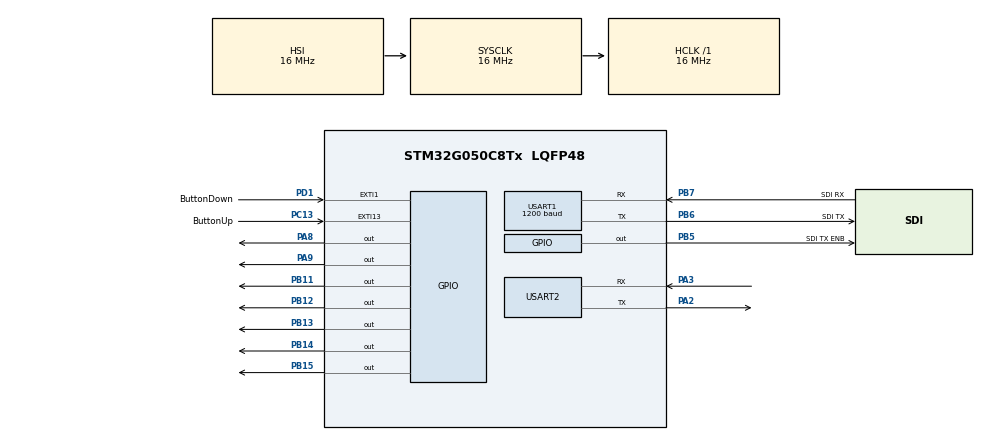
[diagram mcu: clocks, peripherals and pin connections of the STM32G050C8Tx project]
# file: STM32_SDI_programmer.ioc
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Mcu.Family=STM32G0
Mcu.Name=STM32G050C8Tx
Mcu.Package=LQFP48
NVIC.EXTI0_1_IRQn=true\:0\:0\:false\:false\:true\:true\:true\:true
NVIC.EXTI4_15_IRQn=true\:0\:0\:false\:false\:true\:true\:true\:true
NVIC.USART1_IRQn=true\:3\:0\:true\:false\:true\:true\:true\:true
PA2.Mode=Asynchronous
PA2.Signal=USART2_TX
PA3.Mode=Asynchronous
PA3.Signal=USART2_RX
PA8.Signal=GPIO_Output
PA9.Signal=GPIO_Output
PB11.Signal=GPIO_Output
PB12.Signal=GPIO_Output
PB13.Signal=GPIO_Output
PB14.Signal=GPIO_Output
PB15.Signal=GPIO_Output
PB5.GPIO_Label=SDI TX ENB
PB5.GPIO_Speed=GPIO_SPEED_FREQ_VERY_HIGH
PB5.Signal=GPIO_Output
PB6.GPIO_Label=SDI TX
PB6.GPIO_Speed=GPIO_SPEED_FREQ_VERY_HIGH
PB6.Mode=Asynchronous
PB6.Signal=USART1_TX
PB7.GPIO_Label=SDI RX
PB7.GPIO_Speed=GPIO_SPEED_FREQ_VERY_HIGH
PB7.Mode=Asynchronous
PB7.Signal=USART1_RX
PC13.GPIO_Label=ButtonUp
PC13.Signal=GPXTI13
PD1.GPIO_Label=ButtonDown
PD1.Signal=GPXTI1
ProjectManager.HeapSize=0x200
ProjectManager.StackSize=0x400
ProjectManager.TargetToolchain=STM32CubeIDE
RCC.AHBFreq_Value=16000000
RCC.APB1CLKDivider=RCC_HCLK_DIV2
RCC.CortexFreq_Value=16000000
RCC.EXTERNAL_CLOCK_VALUE=48000
RCC.HCLKFreq_Value=16000000
RCC.HSE_VALUE=8000000
RCC.HSI_VALUE=16000000
RCC.LSE_VALUE=32768
RCC.SYSCLKFreq_VALUE=16000000
RCC.VCOOutputFreq_Value=128000000
USART1.BaudRate=1200
USART1.VirtualMode-Asynchronous=VM_ASYNC
USART2.VirtualMode-Asynchronous=VM_ASYNC
VP_SYS_VS_DBSignals.Mode=DisableDeadBatterySignals
board=custom

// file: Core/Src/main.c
/* USER CODE BEGIN Header */

/**
 ******************************************************************************
 * @file           : main.c
 * @brief          : Main program body
 ******************************************************************************
 * @attention
 *
 * Copyright (c) 2023 STMicroelectronics.
 * All rights reserved.
 *
 * This software is licensed under terms that can be found in the LICENSE file
 * in the root directory of this software component.
 * If no LICENSE file comes with this software, it is provided AS-IS.
 *
 ******************************************************************************
 */
/* USER CODE END Header */
#include "main.h"

/* USER CODE BEGIN Includes */
#include "sdi_logging.h"
#include "led_driver.h"
#include "sdi12Bus_communication.h"

#include <stdlib.h>

/* USER CODE END Includes */

/* USER CODE BEGIN PD */
#define STD_WAIT_SENRESP_MS     (150) /**< @brief SDI12 wait time for response as per standard*/
#define SDI_STANDARD_WAIT_MS    (750) /**< @brief SDI12 standard wait time for Address change and Identification command response as per standard*/
#define MAX_INIT_TIME           (6)   /**< @brief Max time in ms from uart init to address read command*/
#define IDLE_TIME_SEC           (10)  /**< @brief Max time in seconds that the programmer will remain idle before suspending*/
#define CYCLE_DELAY             (50)  /**< @brief Main program loop cycle delay*/
#define MAX_SDI_ADDRESS         (3)   /**< @brief Max address an SDI sensor can have*/

/* USER CODE END PD */

UART_HandleTypeDef huart1;
UART_HandleTypeDef huart2;

/* USER CODE BEGIN PV */
char         addressArr[]        = {'0', '1', '2', '3'};
int          buttonInterruptFlag = -1;
int          addressReadFlag     = UNREAD;
Sdi12Handle *interruptSdiHandle  = {0};

/* USER CODE END PV */

void SystemClock_Config(void);
static void MX_GPIO_Init(void);
static void MX_USART2_UART_Init(void);
static void MX_USART1_UART_Init(void);

int main(void)
{
    /* USER CODE BEGIN 1 */
    char         log[250]        = {0};
    char         address_buf     = {0};
    char         rxbuf[250]      = {0};
    int          rxSize          = 250;
    SDI12RetCode retStat         = 0;
    int          idleCycles      = 0;
    char         addressNotFound = '8';

    /* USER CODE END 1 */

    /* MCU Configuration--------------------------------------------------------*/

    /* Reset of all peripherals, Initializes the Flash interface and the Systick. */
    HAL_Init();

    /* Configure the system clock */
    SystemClock_Config();

    /* Initialize all configured peripherals */
    MX_GPIO_Init();
    MX_USART2_UART_Init();
    MX_USART1_UART_Init();
    /* USER CODE BEGIN 2 */
    // Init SDI handles
    Sdi12PortPinMap sdiTxEnb =
    {
        .pGpioPort = SDI_TX_ENB_GPIO_Port,
        .gpioPin   = SDI_TX_ENB_Pin
    };

    Sdi12PortPinMap sdiTx =
    {
        .pGpioPort = SDI_TX_GPIO_Port,
        .gpioPin   = SDI_TX_Pin
    };

    Sdi12PinConfig pinConfig =
    {
        .sdiTx    = sdiTx,
        .sdiTxEnb = sdiTxEnb
    };

    Sdi12Handle sensorHandle =
    {
        .Sdi12PinCfg       = pinConfig,
        .hUART             = &huart1,
        .sdi12IdNewOrQuery = address_buf
    };

    Sdi12Receive Sdi12Resp =
    {
        .recBuf  = rxbuf,
        .recSize = rxSize
    };

    interruptSdiHandle = &sensorHandle;

    printLog("          ---");
    printLog("SDI programmer initialized");
    printLog("          ---");

    /* USER CODE END 2 */

    /* Infinite loop */
    /* USER CODE BEGIN WHILE */
    while (1)
    {
        if (idleCycles >= IDLE_TIME_SEC * 20)
        {
            //Suspend programmer if left idle
            printLog("Entering STOP mode");
            HAL_SuspendTick();
            HAL_PWR_EnterSTOPMode(PWR_LOWPOWERREGULATOR_ON, PWR_STOPENTRY_WFI);
            SystemClock_Config();
            HAL_ResumeTick();
            idleCycles = 0;
        }

        if (addressReadFlag == UNREAD)
        {
            // Request SDI-12 sensor address
            retStat = sdi12_BusCommunication(&sensorHandle, Sdi12Resp.recBuf,
                                             &Sdi12Resp.recSize, STD_WAIT_SENRESP_MS,
                                             SDI12_QUERY_ADDR);
            sensorHandle.sdi12IdNewOrQuery = Sdi12Resp.recBuf[0];

            if (retStat != SDI12RetCode_OK)
            {
                printLog("Error: Failed to read sensor address");
                setDigit(addressNotFound);
                HAL_Delay(STD_WAIT_SENRESP_MS); //Give SDI a break before querying again
            }
            else
            {
                sprintf(log, "Current sensor address: %c", sensorHandle.sdi12IdNewOrQuery);
                printLog(log);
                setDigit(sensorHandle.sdi12IdNewOrQuery);
                addressReadFlag = READ;
            }

            //This call takes 400ms
            idleCycles += 8;
        }

        if (buttonInterruptFlag == -1)
        {
            HAL_Delay(CYCLE_DELAY);
            idleCycles++;
        }
        else
        {
            // Request SDI-12 sensor address change
            sensorHandle.sdi12Address      = sensorHandle.sdi12IdNewOrQuery;
            sensorHandle.sdi12IdNewOrQuery = addressArr[buttonInterruptFlag];
            retStat = sdi12_BusCommunication(&sensorHandle, Sdi12Resp.recBuf,
                                             &Sdi12Resp.recSize, SDI_STANDARD_WAIT_MS,
                                             SDI12_CHANGE_ADDR);
            sensorHandle.sdi12IdNewOrQuery = Sdi12Resp.recBuf[0];

            if (retStat != SDI12RetCode_OK)
            {
                printLog("Error: Failed to change sensor address");
            }
            else
            {
                setDigit(sensorHandle.sdi12IdNewOrQuery);
                sprintf(log, "New sensor address: %c", sensorHandle.sdi12IdNewOrQuery);
                printLog(log);
            }

            buttonInterruptFlag = -1;
            idleCycles          = 0;
        }
        /* USER CODE END WHILE */

    }
}

void SystemClock_Config(void)
{
    RCC_OscInitTypeDef RCC_OscInitStruct = {0};
    RCC_ClkInitTypeDef RCC_ClkInitStruct = {0};

    /** Configure the main internal regulator output voltage
     */
    HAL_PWREx_ControlVoltageScaling(PWR_REGULATOR_VOLTAGE_SCALE1);

    /** Initializes the RCC Oscillators according to the specified parameters
     * in the RCC_OscInitTypeDef structure.
     */
    RCC_OscInitStruct.OscillatorType      = RCC_OSCILLATORTYPE_HSI;
    RCC_OscInitStruct.HSIState            = RCC_HSI_ON;
    RCC_OscInitStruct.HSIDiv              = RCC_HSI_DIV1;
    RCC_OscInitStruct.HSICalibrationValue = RCC_HSICALIBRATION_DEFAULT;
    RCC_OscInitStruct.PLL.PLLState        = RCC_PLL_NONE;
    if (HAL_RCC_OscConfig(&RCC_OscInitStruct) != HAL_OK)
    {
        Error_Handler();
    }

    /** Initializes the CPU, AHB and APB buses clocks
     */
    RCC_ClkInitStruct.ClockType = RCC_CLOCKTYPE_HCLK | RCC_CLOCKTYPE_SYSCLK |
                                  RCC_CLOCKTYPE_PCLK1;
    RCC_ClkInitStruct.SYSCLKSource   = RCC_SYSCLKSOURCE_HSI;
    RCC_ClkInitStruct.AHBCLKDivider  = RCC_SYSCLK_DIV1;
    RCC_ClkInitStruct.APB1CLKDivider = RCC_HCLK_DIV2;

    if (HAL_RCC_ClockConfig(&RCC_ClkInitStruct, FLASH_LATENCY_0) != HAL_OK)
    {
        Error_Handler();
    }
}

static void MX_USART1_UART_Init(void)
{

    huart1.Instance                    = USART1;
    huart1.Init.BaudRate               = 1200;
    huart1.Init.WordLength             = UART_WORDLENGTH_8B;
    huart1.Init.StopBits               = UART_STOPBITS_1;
    huart1.Init.Parity                 = UART_PARITY_NONE;
    huart1.Init.Mode                   = UART_MODE_TX_RX;
    huart1.Init.HwFlowCtl              = UART_HWCONTROL_NONE;
    huart1.Init.OverSampling           = UART_OVERSAMPLING_16;
    huart1.Init.OneBitSampling         = UART_ONE_BIT_SAMPLE_DISABLE;
    huart1.Init.ClockPrescaler         = UART_PRESCALER_DIV1;
    huart1.AdvancedInit.AdvFeatureInit = UART_ADVFEATURE_NO_INIT;
    if (HAL_UART_Init(&huart1) != HAL_OK)
    {
        Error_Handler();
    }
    if (HAL_UARTEx_SetTxFifoThreshold(&huart1, UART_TXFIFO_THRESHOLD_1_8) != HAL_OK)
    {
        Error_Handler();
    }
    if (HAL_UARTEx_SetRxFifoThreshold(&huart1, UART_RXFIFO_THRESHOLD_1_8) != HAL_OK)
    {
        Error_Handler();
    }
    if (HAL_UARTEx_DisableFifoMode(&huart1) != HAL_OK)
    {
        Error_Handler();
    }
    /* USER CODE BEGIN USART1_Init 2 */
    __HAL_UART_ENABLE_IT(&huart1, UART_IT_RXNE);
    /* USER CODE END USART1_Init 2 */
}

static void MX_USART2_UART_Init(void)
{

    huart2.Instance                    = USART2;
    huart2.Init.BaudRate               = 115200;
    huart2.Init.WordLength             = UART_WORDLENGTH_8B;
    huart2.Init.StopBits               = UART_STOPBITS_1;
    huart2.Init.Parity                 = UART_PARITY_NONE;
    huart2.Init.Mode                   = UART_MODE_TX_RX;
    huart2.Init.HwFlowCtl              = UART_HWCONTROL_NONE;
    huart2.Init.OverSampling           = UART_OVERSAMPLING_16;
    huart2.Init.OneBitSampling         = UART_ONE_BIT_SAMPLE_DISABLE;
    huart2.Init.ClockPrescaler         = UART_PRESCALER_DIV1;
    huart2.AdvancedInit.AdvFeatureInit = UART_ADVFEATURE_NO_INIT;
    if (HAL_UART_Init(&huart2) != HAL_OK)
    {
        Error_Handler();
    }
}

static void MX_GPIO_Init(void)
{
    GPIO_InitTypeDef GPIO_InitStruct = {0};

    /* GPIO Ports Clock Enable */
    __HAL_RCC_GPIOC_CLK_ENABLE();
    __HAL_RCC_GPIOA_CLK_ENABLE();
    __HAL_RCC_GPIOB_CLK_ENABLE();
    __HAL_RCC_GPIOD_CLK_ENABLE();

    /*Configure GPIO pin Output Level */
    HAL_GPIO_WritePin(GPIOB,
                      GPIO_PIN_11 | GPIO_PIN_12 | GPIO_PIN_13 | GPIO_PIN_14 | GPIO_PIN_15 | SDI_TX_ENB_Pin,
                      GPIO_PIN_RESET);

    /*Configure GPIO pin Output Level */
    HAL_GPIO_WritePin(GPIOA, GPIO_PIN_8 | GPIO_PIN_9, GPIO_PIN_RESET);

    /*Configure GPIO pin : ButtonUp_Pin */
    GPIO_InitStruct.Pin  = ButtonUp_Pin;
    GPIO_InitStruct.Mode = GPIO_MODE_IT_RISING;
    GPIO_InitStruct.Pull = GPIO_NOPULL;
    HAL_GPIO_Init(ButtonUp_GPIO_Port, &GPIO_InitStruct);

    /*Configure GPIO pins : PB11 PB12 PB13 PB14
     *                       PB15 */
    GPIO_InitStruct.Pin   = GPIO_PIN_11 | GPIO_PIN_12 | GPIO_PIN_13 | GPIO_PIN_14 | GPIO_PIN_15;
    GPIO_InitStruct.Mode  = GPIO_MODE_OUTPUT_PP;
    GPIO_InitStruct.Pull  = GPIO_NOPULL;
    GPIO_InitStruct.Speed = GPIO_SPEED_FREQ_LOW;
    HAL_GPIO_Init(GPIOB, &GPIO_InitStruct);

    /*Configure GPIO pins : PA8 PA9 */
    GPIO_InitStruct.Pin   = GPIO_PIN_8 | GPIO_PIN_9;
    GPIO_InitStruct.Mode  = GPIO_MODE_OUTPUT_PP;
    GPIO_InitStruct.Pull  = GPIO_NOPULL;
    GPIO_InitStruct.Speed = GPIO_SPEED_FREQ_LOW;
    HAL_GPIO_Init(GPIOA, &GPIO_InitStruct);

    /*Configure GPIO pin : ButtonDown_Pin */
    GPIO_InitStruct.Pin  = ButtonDown_Pin;
    GPIO_InitStruct.Mode = GPIO_MODE_IT_RISING;
    GPIO_InitStruct.Pull = GPIO_NOPULL;
    HAL_GPIO_Init(ButtonDown_GPIO_Port, &GPIO_InitStruct);

    /*Configure GPIO pin : SDI_TX_ENB_Pin */
    GPIO_InitStruct.Pin   = SDI_TX_ENB_Pin;
    GPIO_InitStruct.Mode  = GPIO_MODE_OUTPUT_PP;
    GPIO_InitStruct.Pull  = GPIO_NOPULL;
    GPIO_InitStruct.Speed = GPIO_SPEED_FREQ_VERY_HIGH;
    HAL_GPIO_Init(SDI_TX_ENB_GPIO_Port, &GPIO_InitStruct);

    /* EXTI interrupt init*/
    HAL_NVIC_SetPriority(EXTI0_1_IRQn, 0, 0);
    HAL_NVIC_EnableIRQ(EXTI0_1_IRQn);

    HAL_NVIC_SetPriority(EXTI4_15_IRQn, 0, 0);
    HAL_NVIC_EnableIRQ(EXTI4_15_IRQn);
}

/* USER CODE BEGIN 4 */
void triggerAddressChange(addrChangeType changeAddress)
{
    unsigned int newAddress = 0;
    unsigned int sensorAddr = atoi(&interruptSdiHandle->sdi12IdNewOrQuery);

    if(changeAddress == UP)
    {
        newAddress = (sensorAddr + 1) % (MAX_SDI_ADDRESS + 1);
    }
    else if(changeAddress == DOWN)
    {
        newAddress = (sensorAddr - 1) % (MAX_SDI_ADDRESS + 1);
    }

    buttonInterruptFlag = newAddress;
}

/* USER CODE END 4 */

void Error_Handler(void)
{
    __disable_irq();
    while (1)
    {
    }
}

#ifdef USE_FULL_ASSERT

/**
 * @brief  Reports the name of the source file and the source line number
 *         where the assert_param error has occurred.
 * @param  file: pointer to the source file name
 * @param  line: assert_param error line source number
 * @retval None
 */
void assert_failed(uint8_t *file, uint32_t line)
{
    /* USER CODE BEGIN 6 */

    /* User can add his own implementation to report the file name and line number,
     * ex: printf("Wrong parameters value: file %s on line %d\r\n", file, line) */
    /* USER CODE END 6 */
}

#endif /* USE_FULL_ASSERT */
